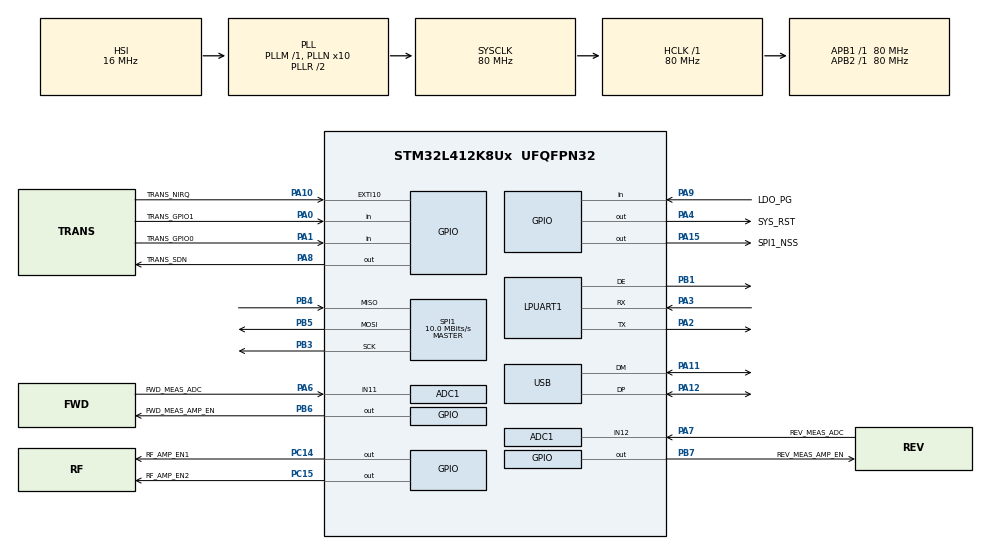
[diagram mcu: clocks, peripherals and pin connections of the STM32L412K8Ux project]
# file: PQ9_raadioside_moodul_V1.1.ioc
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ADC1.Channel-0\#ChannelRegularConversion=ADC_CHANNEL_11
ADC1.Channel-1\#ChannelRegularConversion=ADC_CHANNEL_12
ADC1.ContinuousConvMode=ENABLE
ADC1.DiscontinuousConvMode=DISABLE
ADC1.NbrOfConversion=2
ADC1.NbrOfConversionFlag=1
ADC1.OffsetNumber-0\#ChannelRegularConversion=ADC_OFFSET_NONE
ADC1.OffsetNumber-1\#ChannelRegularConversion=ADC_OFFSET_NONE
ADC1.Rank-0\#ChannelRegularConversion=1
ADC1.Rank-1\#ChannelRegularConversion=2
ADC1.SamplingTime-0\#ChannelRegularConversion=ADC_SAMPLETIME_12CYCLES_5
ADC1.SamplingTime-1\#ChannelRegularConversion=ADC_SAMPLETIME_12CYCLES_5
ADC1.master=1
Dma.ADC1.0.Direction=DMA_PERIPH_TO_MEMORY
Dma.ADC1.0.Instance=DMA1_Channel1
Dma.ADC1.0.MemDataAlignment=DMA_MDATAALIGN_WORD
Dma.ADC1.0.MemInc=DMA_MINC_ENABLE
Dma.ADC1.0.Mode=DMA_CIRCULAR
Dma.ADC1.0.PeriphDataAlignment=DMA_PDATAALIGN_WORD
Dma.ADC1.0.PeriphInc=DMA_PINC_DISABLE
Dma.ADC1.0.Priority=DMA_PRIORITY_LOW
Dma.Request0=ADC1
Mcu.Family=STM32L4
Mcu.Name=STM32L412K8Ux
Mcu.Package=UFQFPN32
NVIC.DMA1_Channel1_IRQn=true\:0\:0\:false\:false\:true\:false\:true\:true
NVIC.PriorityGroup=NVIC_PRIORITYGROUP_4
NVIC.USB_IRQn=true\:0\:0\:false\:false\:true\:false\:true\:true
PA0-CK_IN.GPIO_Label=TRANS_GPIO1
PA0-CK_IN.Signal=GPIO_Input
PA1.GPIO_Label=TRANS_GPIO0
PA1.Signal=GPIO_Input
PA10.GPIO_Label=TRANS_NIRQ
PA10.Signal=GPXTI10
PA11.Mode=Device
PA11.Signal=USB_DM
PA12.Mode=Device
PA12.Signal=USB_DP
PA13\ (JTMS/SWDIO).Mode=Serial_Wire
PA13\ (JTMS/SWDIO).Signal=SYS_JTMS-SWDIO
PA14\ (JTCK/SWCLK).Mode=Serial_Wire
PA14\ (JTCK/SWCLK).Signal=SYS_JTCK-SWCLK
PA15\ (JTDI).GPIO_Label=SPI1_NSS
PA15\ (JTDI).GPIO_Speed=GPIO_SPEED_FREQ_VERY_HIGH
PA15\ (JTDI).Signal=GPIO_Output
PA2.Mode=Asynchronous
PA2.Signal=LPUART1_TX
PA3.Mode=Asynchronous
PA3.Signal=LPUART1_RX
PA4.GPIO_Label=SYS_RST
PA4.Signal=GPIO_Output
PA6.GPIO_Label=FWD_MEAS_ADC
PA6.Signal=ADCx_IN11
PA7.GPIO_Label=REV_MEAS_ADC
PA7.Signal=ADCx_IN12
PA8.GPIO_Label=TRANS_SDN
PA8.Signal=GPIO_Output
PA9.GPIO_Label=LDO_PG
PA9.Signal=GPIO_Input
PB1.Mode=Hardware Flow Control (RS485)
PB1.Signal=LPUART1_DE
PB3\ (JTDO/TRACESWO).Mode=Full_Duplex_Master
PB3\ (JTDO/TRACESWO).Signal=SPI1_SCK
PB4\ (NJTRST).Mode=Full_Duplex_Master
PB4\ (NJTRST).Signal=SPI1_MISO
PB5.Mode=Full_Duplex_Master
PB5.Signal=SPI1_MOSI
PB6.GPIO_Label=FWD_MEAS_AMP_EN
PB6.Signal=GPIO_Output
PB7.GPIO_Label=REV_MEAS_AMP_EN
PB7.Signal=GPIO_Output
PC14-OSC32_IN\ (PC14).GPIO_Label=RF_AMP_EN1
PC14-OSC32_IN\ (PC14).Signal=GPIO_Output
PC15-OSC32_OUT\ (PC15).GPIO_Label=RF_AMP_EN2
PC15-OSC32_OUT\ (PC15).Signal=GPIO_Output
ProjectManager.HeapSize=0x200
ProjectManager.StackSize=0x400
ProjectManager.TargetToolchain=STM32CubeIDE
RCC.ADCFreq_Value=80000000
RCC.AHBFreq_Value=80000000
RCC.APB1Freq_Value=80000000
RCC.APB1TimFreq_Value=80000000
RCC.APB2Freq_Value=80000000
RCC.APB2TimFreq_Value=80000000
RCC.CortexFreq_Value=80000000
RCC.HCLKFreq_Value=80000000
RCC.HSE_VALUE=8000000
RCC.HSI48_VALUE=48000000
RCC.HSI_VALUE=16000000
RCC.LSE_VALUE=32768
RCC.MSIClockRange=RCC_MSIRANGE_11
RCC.MSI_VALUE=48000000
RCC.PLLN=10
RCC.PLLSourceVirtual=RCC_PLLSOURCE_HSI
RCC.SYSCLKFreq_VALUE=80000000
RCC.SYSCLKSource=RCC_SYSCLKSOURCE_PLLCLK
RCC.USBFreq_Value=48000000
RCC.VCOOutputFreq_Value=160000000
SH.ADCx_IN11.0=ADC1_IN11,IN11-Single-Ended
SH.ADCx_IN12.0=ADC1_IN12,IN12-Single-Ended
SPI1.BaudRatePrescaler=SPI_BAUDRATEPRESCALER_8
SPI1.CLKPolarity=SPI_POLARITY_LOW
SPI1.CalculateBaudRate=10.0 MBits/s
SPI1.DataSize=SPI_DATASIZE_8BIT
SPI1.Direction=SPI_DIRECTION_2LINES
SPI1.FirstBit=SPI_FIRSTBIT_MSB
SPI1.Mode=SPI_MODE_MASTER
SPI1.VirtualType=VM_MASTER
USB_DEVICE.CLASS_NAME_FS=CDC
USB_DEVICE.VirtualMode=Cdc
USB_DEVICE.VirtualModeFS=Cdc_FS
VP_USB_DEVICE_VS_USB_DEVICE_CDC_FS.Mode=CDC_FS
board=custom

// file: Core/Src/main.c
/* USER CODE BEGIN Header */
/**
  ******************************************************************************
  * @file           : main.c
  * @brief          : Main program body
  ******************************************************************************
  * @attention
  *
  *	AUTO-GENERATED CODE:
  * Copyright (c) 2024 STMicroelectronics.
  * All rights reserved.
  *
  * This software is licensed under terms that can be found in the LICENSE file
  * in the root directory of this software component.
  * If no LICENSE file comes with this software, it is provided AS-IS.
  *
  * --------------------
  *
  * USER-GENERATED CODE:
  * Copyright (c) 2024 Ergo Haavasalu, TalTech
  *
  ******************************************************************************
  */
/* USER CODE END Header */
#include "main.h"
#include "usb_device.h"

/* USER CODE BEGIN Includes */
#include "usbd_cdc_if.h"
#include "radio_config_Si4468.h"

/* USER CODE END Includes */

/* USER CODE BEGIN PD */

// Si4468 Transceiver commands
#define Si4468_PART_INFO 0x01
#define Si4468_POWER_UP 0x02 // Add TCXO option (using external drive)!
#define Si4468_FUNC_INFO 0x10
#define Si4468_SET_PROPERTY 0x11
#define Si4468_GET_PROPERTY 0x12
#define Si4468_GPIO_PIN_CFG 0x13
#define Si4468_GET_ADC_READING 0x14
#define Si4468_FIFO_INFO 0x15
#define Si4468_PACKET_INFO 0x16
#define Si4468_IRCAL 0x17
#define Si4468_IRCAL_MANUAL 0x1A
#define Si4468_GET_INT_STATUS 0x20
#define Si4468_GET_PH_STATUS 0x21
#define Si4468_GET_MODEM_STATUS 0x22
#define Si4468_GET_CHIP_STATUS 0x23
#define Si4468_START_TX 0x31
#define Si4468_START_RX 0x32
#define Si4468_REQUEST_DEVICE_STATE 0x33
#define Si4468_CHANGE_STATE 0x34
#define Si4468_RX_HOP 0x36
#define Si4468_TX_HOP 0x37
#define Si4468_OFFLINE_RECAL 0x38
#define Si4468_READ_CMD_BUFF 0x44
#define Si4468_FRR_A_READ 0x50
#define Si4468_FRR_B_READ 0x51
#define Si4468_FRR_C_READ 0x53
#define Si4468_FRR_D_READ 0x57
#define Si4468_WRITE_TX_FIFO 0x66
#define Si4468_READ_RX_FIFO 0x77

#define Si4468_TX_STATE 0x07
#define Si4468_RX_STATE 0x08

#define ANSI_COLORS_OFF 0x00
#define ANSI_COLORS_ON 0x01

enum {
	MSG_WELCOME,
	MSG_CMD_LIST,
	MSG_ENTER_CMD,
	MSG_CMD_NOT_FOUND,
	MSG_COLORS_ACTIVE,
	MSG_COLORS_INACTIVE,
	MSG_RF_AMP_WARNING,
	MSG_RF_AMP_ON,
	MSG_RF_AMP_OFF,
	MSG_OPAMPS_ON,
	MSG_OPAMPS_OFF,
	MSG_MEAS_MODE_ON,
	MSG_MEAS_MODE_OFF,
	MSG_TX_MODE_ON,
	MSG_TX_MODE_OFF,
	MSG_RX_MODE_ON,
	MSG_RX_MODE_OFF,
	MSG_DEVICE_INFO
};

enum {
	STATE_IDLE,
	STATE_RX,
	STATE_TX,
};

/* USER CODE END PD */

ADC_HandleTypeDef hadc1;
DMA_HandleTypeDef hdma_adc1;

UART_HandleTypeDef hlpuart1;

SPI_HandleTypeDef hspi1;

/* USER CODE BEGIN PV */
uint32_t ADC_Raw_Results[2];

uint8_t USB_RxBuf[1024] = {0};
uint8_t USB_RxBufIndex = 0; // Index of the last character in the USB Rx buffer
uint8_t USB_RxBufFull = 0;
uint8_t USB_RxBufOverflow = 0;

uint8_t ANSI_ColorsOn = 0;
uint8_t RF_AmpSupplyOn = 0;
uint8_t RF_AmpSupplyOnWarning = 1;

uint16_t USB_RxBufLen = 1024;
uint8_t USB_RxDataReadyFlag;

extern uint8_t USB_COM_Port_open;

uint8_t Reset = 0;
uint8_t ExitSignalReceived = 0;
uint8_t DenyReturnKey = 0;

uint8_t DeviceState = STATE_IDLE;

/* USER CODE END PV */

void SystemClock_Config(void);
static void MX_GPIO_Init(void);
static void MX_DMA_Init(void);
static void MX_ADC1_Init(void);
static void MX_LPUART1_UART_Init(void);
static void MX_SPI1_Init(void);
/* USER CODE BEGIN PFP */

void USB_Rx_Parser(void);
uint8_t Si4468_CmdTransmitReceive(uint8_t * TxBuf, uint8_t * RxBuf, uint8_t Length);
uint8_t Si4468_CmdTransmit(uint8_t * RxBuf, uint8_t Length);
uint8_t Si4468_CmdReceive(uint8_t * RxBuf, uint8_t Length);
uint8_t Si4468_CmdReadCmdReplyWhenReady(uint8_t * RxBuf, uint8_t Length);
void Si4468_WaitForCTS(void);
void USB_CDC_TransmitPredefinedMessage(uint8_t ANSI_Color_State, uint8_t Select_Message);
uint8_t ParseUSBInputAsInteger(uint32_t * result);
double ConvertTxADCtoPower(uint32_t ADCrawResult);

/* USER CODE END PFP */

/* USER CODE BEGIN 0 */

/* A callback function for USB received data handling.
 * NB! Must be kept short because it is triggered by an interrupt.
 */
void CDC_FS_RxDataReady_Callback(uint8_t * RxBuf, uint8_t Length){
	if (Length == 1){
		switch (*RxBuf){
		case '\r': // Marks the end of buffer
			if (!DenyReturnKey){
				CDC_Transmit_FS((uint8_t *) "\r\n", 2);
				USB_RxDataReadyFlag = 1; // The contents of the buffer are ready to be parsed
			}
			break;
		case '\b': // BACKSPACE key (backspace for Minicom)
			if (USB_RxBufIndex > 0){
				USB_RxBufIndex--; // Take a step back in the buffer
			}
			break;
		case 0x0C:
			CDC_Transmit_FS((uint8_t *) "\e[2J\e[0;0HEnter a command: ", 27);
			break;
		case 'x':
			ExitSignalReceived = 1;
			break;
		case 0x7F: // DEL key (backspace for Picocom and Tio)
			if (USB_RxBufIndex > 0){
				USB_RxBufIndex--; // Take a step back in the buffer
			}
			break;
		default:
			if (USB_RxBufIndex < (USB_RxBufLen - 1)){
				USB_RxBuf[USB_RxBufIndex] = *RxBuf;
				USB_RxBufIndex++;
			}
			else if (USB_RxBufIndex == USB_RxBufLen - 1){
				USB_RxBuf[USB_RxBufIndex] = *RxBuf;
				USB_RxBufFull = 1;
			}
			else{
				USB_RxBufOverflow = 1;
			}
		}
	}
	else {
		// Copy the contents of the main USB buffer to a secondary buffer for parsing
		strncpy((char *) USB_RxBuf, (char *) RxBuf, Length);
		USB_RxBufLen = Length;
		USB_RxDataReadyFlag = 1;
	}
}

void USB_Rx_Parser(void){
	char USB_MSG_TxBuf[1024];
	uint8_t Si4468_CmdTxBuf[128], Si4468_CmdRxBuf[128];
	if (USB_RxDataReadyFlag){
		if (USB_RxBufIndex == 0){
			// NO-OP
		}
		else if (Reset){
			if (USB_RxBufIndex == 1){
				switch (*USB_RxBuf){
					case 'y':
						if (ANSI_ColorsOn){
							HAL_Delay(1);
							CDC_Transmit_FS((uint8_t *) "\e[1m\e[31mRESTARTING!\r\n\e[37m\e[0m", 31);
						}
						else{
							HAL_Delay(1);
							CDC_Transmit_FS((uint8_t *) "RESTARTING!\r\n", 13);
						}
						HAL_Delay(1);
						NVIC_SystemReset(); // Reset the device
					case 'n':
						Reset = 0;
						USB_CDC_TransmitPredefinedMessage(ANSI_COLORS_OFF, MSG_ENTER_CMD);
						break;
					default:
						HAL_Delay(1);
						CDC_Transmit_FS((uint8_t *) "Reset the device? (y/n): ", 25);
				}
			}
			else{
				HAL_Delay(1);
				CDC_Transmit_FS((uint8_t *) "Reset the device? (y/n): ", 25);
			}
		}
		else if (USB_RxBufIndex == 1){
			switch (*USB_RxBuf){
			case 'l':
				if (ANSI_ColorsOn){
					USB_CDC_TransmitPredefinedMessage(ANSI_COLORS_ON, MSG_CMD_LIST);
				}
				else{
					USB_CDC_TransmitPredefinedMessage(ANSI_COLORS_OFF, MSG_CMD_LIST);
				}
				USB_CDC_TransmitPredefinedMessage(ANSI_COLORS_OFF, MSG_ENTER_CMD);
				break;
			case 'm':
				uint16_t MeasuredTxPower = 0;
				double MeasuredTxPowerDouble = 0;
				HAL_GPIO_WritePin(GPIOB, GPIO_PIN_6, GPIO_PIN_SET); // Turn the forward meas. amplifier ON
				HAL_GPIO_WritePin(GPIOB, GPIO_PIN_7, GPIO_PIN_SET); // Turn the reverse meas. amplifier ON
				HAL_Delay(100); // Wait for the amplifiers to turn on
				USB_CDC_TransmitPredefinedMessage(ANSI_ColorsOn, MSG_OPAMPS_ON);
				USB_CDC_TransmitPredefinedMessage(ANSI_ColorsOn, MSG_MEAS_MODE_ON);
				HAL_ADC_Start_DMA(&hadc1, ADC_Raw_Results, 2);
				HAL_Delay(100);
				HAL_ADC_Stop_DMA(&hadc1);
				//CDC_Transmit_FS((uint8_t *) "\e[A\e[A", 6);
				if (ANSI_ColorsOn){
					sprintf(USB_MSG_TxBuf, "\e[31m\tTx ADC raw: \e[37m%u    \r\n\e[32m\tRx ADC raw: \e[37m%u    \r\n", (uint16_t) ADC_Raw_Results[0], (uint16_t) ADC_Raw_Results[1]);
					CDC_Transmit_FS((uint8_t *)USB_MSG_TxBuf, strlen(USB_MSG_TxBuf));
				}
				else{
					sprintf(USB_MSG_TxBuf, "\tTx ADC raw: %u    \r\n\tRx ADC raw: %u    \r\n", (uint16_t) ADC_Raw_Results[0], (uint16_t) ADC_Raw_Results[1]);
					CDC_Transmit_FS((uint8_t *)USB_MSG_TxBuf, strlen(USB_MSG_TxBuf));
				}
				MeasuredTxPowerDouble = ConvertTxADCtoPower(ADC_Raw_Results[0]);
				MeasuredTxPower = (uint16_t) (0.5 + MeasuredTxPowerDouble); // convert to integer
				sprintf(USB_MSG_TxBuf, "\tEstimated Tx power [mW]: %d    \r\n", MeasuredTxPower);
				HAL_Delay(1);
				CDC_Transmit_FS((uint8_t *)USB_MSG_TxBuf, strlen(USB_MSG_TxBuf));
				ExitSignalReceived = 0;
				DenyReturnKey = 0;
				HAL_GPIO_WritePin(GPIOB, GPIO_PIN_6, GPIO_PIN_RESET); // Turn the forward meas. amplifier OFF
				HAL_GPIO_WritePin(GPIOB, GPIO_PIN_7, GPIO_PIN_RESET); // Turn the reverse meas. amplifier OFF
				USB_CDC_TransmitPredefinedMessage(ANSI_ColorsOn, MSG_OPAMPS_OFF);
				USB_CDC_TransmitPredefinedMessage(ANSI_ColorsOn, MSG_ENTER_CMD);
				break;
			case 'c':
				ANSI_ColorsOn ^= 0x01; // Toggle the terminal color mode
				if (ANSI_ColorsOn){
					USB_CDC_TransmitPredefinedMessage(ANSI_COLORS_ON, MSG_COLORS_ACTIVE);
				}
				else{
					USB_CDC_TransmitPredefinedMessage(ANSI_COLORS_ON, MSG_COLORS_INACTIVE);
				}
				USB_CDC_TransmitPredefinedMessage(ANSI_COLORS_ON, MSG_ENTER_CMD);
				break;
			case 'R':
				HAL_Delay(1);
				CDC_Transmit_FS((uint8_t *) "Reset the device? (y/n): ", 25);
				Reset = 1;
				break;
			case 'r':
				DeviceState = STATE_RX;
				Si4468_CmdTxBuf[0] = Si4468_CHANGE_STATE;
				Si4468_CmdTxBuf[1] = Si4468_RX_STATE; // RX
				Si4468_CmdTransmitReceive(Si4468_CmdTxBuf, Si4468_CmdRxBuf, 2);
				Si4468_WaitForCTS();
				HAL_Delay(100);
				HAL_GPIO_WritePin(GPIOC, GPIO_PIN_14, GPIO_PIN_RESET); // Turn the RF amplifier stage 1 OFF
				HAL_GPIO_WritePin(GPIOC, GPIO_PIN_15, GPIO_PIN_RESET); // Turn the RF amplifier stage 2 OFF
				HAL_Delay(100);
				USB_CDC_TransmitPredefinedMessage(ANSI_ColorsOn, MSG_RX_MODE_ON);
				break;
			case 't':
				DeviceState = STATE_TX;
				HAL_GPIO_WritePin(GPIOC, GPIO_PIN_14, GPIO_PIN_SET); // Turn the RF amplifier stage 1 ON
				HAL_GPIO_WritePin(GPIOC, GPIO_PIN_15, GPIO_PIN_SET); // Turn the RF amplifier stage 2 ON
				HAL_Delay(100);
				Si4468_CmdTxBuf[0] = Si4468_CHANGE_STATE;
				Si4468_CmdTxBuf[1] = Si4468_TX_STATE; // TX
				Si4468_CmdTransmitReceive(Si4468_CmdTxBuf, Si4468_CmdRxBuf, 2);
				Si4468_WaitForCTS();
				USB_CDC_TransmitPredefinedMessage(ANSI_ColorsOn, MSG_TX_MODE_ON);
				break;
			case 'i':
				USB_CDC_TransmitPredefinedMessage(ANSI_ColorsOn, MSG_DEVICE_INFO);
				break;
			case 'p':
				if (RF_AmpSupplyOnWarning){
					USB_CDC_TransmitPredefinedMessage(ANSI_ColorsOn, MSG_RF_AMP_WARNING);
					USB_CDC_TransmitPredefinedMessage(ANSI_ColorsOn, MSG_ENTER_CMD);
					RF_AmpSupplyOnWarning = 0;
				}
				else{
					RF_AmpSupplyOn ^= 0x01; // Toggle the RF amp flag
					if (RF_AmpSupplyOn){
						USB_CDC_TransmitPredefinedMessage(ANSI_ColorsOn, MSG_RF_AMP_ON);
						HAL_Delay(1);
						HAL_GPIO_WritePin(GPIOC, GPIO_PIN_14, GPIO_PIN_SET); // Turn the RF amplifier stage 1 ON
						HAL_GPIO_WritePin(GPIOC, GPIO_PIN_15, GPIO_PIN_SET); // Turn the RF amplifier stage 2 ON
					}
					else{
						USB_CDC_TransmitPredefinedMessage(ANSI_ColorsOn, MSG_RF_AMP_OFF);
						HAL_Delay(1);
						HAL_GPIO_WritePin(GPIOC, GPIO_PIN_14, GPIO_PIN_RESET); // Turn the RF amplifier stage 1 OFF
						HAL_GPIO_WritePin(GPIOC, GPIO_PIN_15, GPIO_PIN_RESET); // Turn the RF amplifier stage 2 OFF
						RF_AmpSupplyOnWarning = 1; // Reset the warning flag for next turn-on event
					}
				}
				break;
			default:
				uint32_t parsed_number = 0;
				uint8_t error = ParseUSBInputAsInteger(&parsed_number);
				if (error){
					USB_CDC_TransmitPredefinedMessage(ANSI_ColorsOn, MSG_CMD_NOT_FOUND);
				}
				else{
					sprintf(USB_MSG_TxBuf, "Input was a number: %u    \r\n", (uint16_t)parsed_number);
					CDC_Transmit_FS((uint8_t *) USB_MSG_TxBuf, strlen(USB_MSG_TxBuf));
					if (DeviceState == STATE_TX){
						Si4468_CmdTxBuf[0] = Si4468_SET_PROPERTY;
						Si4468_CmdTxBuf[1] = 0x22; // Group
						Si4468_CmdTxBuf[2] = 0x04; // Number of properties
						Si4468_CmdTxBuf[3] = 0x00; // Index of the first property to be set
						Si4468_CmdTxBuf[4] = 0x08; //
						Si4468_CmdTxBuf[5] = (uint8_t) parsed_number; // TRANSCEIVER TX POWER LEVEL
						Si4468_CmdTxBuf[6] = 0x00; //
						Si4468_CmdTxBuf[7] = 0x1D; //
						Si4468_CmdTransmit(Si4468_CmdTxBuf, 8);
						Si4468_WaitForCTS();
						CDC_Transmit_FS((uint8_t *) "TX power adjusted!\r\n", 20);
					}
				}
			}
		}
		else if((strncmp((char *)USB_RxBuf, "test", 4) == 0) && (USB_RxBufIndex == 4)){
			HAL_Delay(1);
			CDC_Transmit_FS((uint8_t *) "\tEaster egg~! uwu\r\n", 19);
			HAL_Delay(1);
			CDC_Transmit_FS((uint8_t *) "Enter a command: ", 17);
		}
		else{
			uint32_t parsed_number = 0;
			uint8_t error = ParseUSBInputAsInteger(&parsed_number);
			if (error){
				USB_CDC_TransmitPredefinedMessage(ANSI_ColorsOn, MSG_CMD_NOT_FOUND);
			}
			else{
				sprintf(USB_MSG_TxBuf, "Input was a number: %u    \r\n", (uint16_t)parsed_number);
				CDC_Transmit_FS((uint8_t *) USB_MSG_TxBuf, strlen(USB_MSG_TxBuf));
				if (DeviceState == STATE_TX){
					Si4468_CmdTxBuf[0] = Si4468_SET_PROPERTY;
					Si4468_CmdTxBuf[1] = 0x22; // Group
					Si4468_CmdTxBuf[2] = 0x04; // Number of properties
					Si4468_CmdTxBuf[3] = 0x00; // Index of the first property to be set
					Si4468_CmdTxBuf[4] = 0x08; //
					Si4468_CmdTxBuf[5] = (uint8_t) parsed_number & 0x7F;// TRANSCEIVER TX POWER LEVEL
					Si4468_CmdTxBuf[6] = 0x00; //
					Si4468_CmdTxBuf[7] = 0x1D; //
					Si4468_CmdTransmit(Si4468_CmdTxBuf, 8);
					Si4468_WaitForCTS();
					sprintf(USB_MSG_TxBuf, "TX power adjusted to: %u    \r\n", (uint8_t)parsed_number & 0x7F);
					CDC_Transmit_FS(USB_MSG_TxBuf, strlen(USB_MSG_TxBuf));
				}
			}
		}
		USB_RxDataReadyFlag = 0; // Clear the flag
		USB_RxBufIndex = 0; // Reset the index
	}
}

double ConvertTxADCtoPower(uint32_t ADCrawResult){
	return ((double)0.00002 * ADCrawResult * ADCrawResult) + ((double)0.0301 * ADCrawResult) + ((double)1.6865);
}

uint8_t ParseUSBInputAsInteger(uint32_t * result){
	uint8_t error = 0;
	uint32_t parsed_number = 0;
	uint32_t order = 1;
	// Try to parse the input as a decimal integer:
	for (int i = 0; i < USB_RxBufIndex; i++){
		if (USB_RxBuf[i] >= 48 && USB_RxBuf[i] <= 57){
			for (int j = USB_RxBufIndex - (i + 1); j > 0; j--){
				order *= 10;
			}
			parsed_number += (USB_RxBuf[i] - 48)*order;
			order = 1;
		}
		else{
			error = 1;
		}
	}
	*result = parsed_number;
	return error;
}

void USB_CDC_TransmitPredefinedMessage(uint8_t ANSI_Color_State, uint8_t Select_Message){
	HAL_Delay(1);
	switch(ANSI_Color_State){
	case ANSI_COLORS_OFF:
		switch(Select_Message){
		case MSG_WELCOME:
			CDC_Transmit_FS((uint8_t *) "\e[2J\e[0;0HPQ9 COM module V2.0 by 213415IACB\r\n"
					"Copyright (c): Ergo Haavasalu 2024, TalTech\r\n"
					"Enter a command (\"l\" for a list of available commands): ", 146);
			break;
		case MSG_CMD_LIST:
			CDC_Transmit_FS((uint8_t *) "\r\nLIST OF COMMANDS:\r\n"
					"\tc - Enable ANSI terminal color codes\r\n"
					"\ti - Return the system info and settings\r\n"
					"\tp - Toggle the RF power amplifier 5 V supply\r\n"
					"\tr - Put the device into receive mode\r\n"
					"\tR - Reset the device\r\n"
					"\tt - Put the device into transmit mode\r\n"
					"\tm - Display the measured Tx/Rx power levels\r\n\n", 298);
			break;
		case MSG_DEVICE_INFO:
			CDC_Transmit_FS((uint8_t *) "Device info:\r\n", 14);
			break;
		case MSG_ENTER_CMD:
			CDC_Transmit_FS((uint8_t *) "Enter a command: ", 17);
			break;
		case MSG_RF_AMP_WARNING:
			CDC_Transmit_FS((uint8_t *) "WARNING! When the amplifier is turned on, the current\r\n"
					"consumption increases way above 500 mA. Make sure your USB port\r\n"
					"can handle this load. To proceed, repeat the command.\r\n", 175);
			break;
		case MSG_TX_MODE_ON:
			CDC_Transmit_FS((uint8_t *) "Transmit mode active!\r\n", 23);
			break;
		case MSG_TX_MODE_OFF:

			break;
		case MSG_RX_MODE_ON:
			CDC_Transmit_FS((uint8_t *) "Receive mode active!\r\n", 22);
			break;
		case MSG_RX_MODE_OFF:

			break;
		case MSG_CMD_NOT_FOUND:
			CDC_Transmit_FS((uint8_t *) "COMMAND NOT FOUND!\r\n"
					"Enter a command (\"l\" for a list of available commands): ", 76);
			break;
		case MSG_RF_AMP_ON:
			CDC_Transmit_FS((uint8_t *) "# RF AMPLIFIER SUPPLY ON!\r\n"
					"Enter a command: ", 44);
			break;
		case MSG_RF_AMP_OFF:
			CDC_Transmit_FS((uint8_t *) "# RF AMPLIFIER SUPPLY OFF!\r\n"
					"Enter a command: ", 45);
			break;
		}
		break;
	case ANSI_COLORS_ON:
		switch(Select_Message){
		case MSG_CMD_LIST:
			CDC_Transmit_FS((uint8_t *) "\e[36m\r\nLIST OF COMMANDS:\r\n\e[37m"
					"\tc - Enable ANSI terminal color codes\r\n"
					"\ti - Return the system info and settings\r\n"
					"\tp - Toggle the RF power amplifier 5 V supply\r\n"
					"\tr - Put the device into receive mode\r\n"
					"\tR - Reset the device\r\n"
					"\tt - Put the device into transmit mode\r\n"
					"\tm - Display the measured Tx/Rx power levels\r\n\n", 308);
			break;
		case MSG_DEVICE_INFO:
			CDC_Transmit_FS((uint8_t *) "\e[32m\r\nDevice info:\e[37m\r\n", 26);
			break;
		case MSG_ENTER_CMD:
			CDC_Transmit_FS((uint8_t *) "Enter a command: ", 17);
			break;
		case MSG_COLORS_ACTIVE:
			CDC_Transmit_FS((uint8_t *) "\e[32mANSI COLORS ACTIVATED!\e[37m\r\n", 36);
			break;
		case MSG_COLORS_INACTIVE:
			CDC_Transmit_FS((uint8_t *) "\e[31mANSI COLORS DEACTIVATED!\e[37m\r\n", 36);
			break;
		case MSG_RF_AMP_WARNING:
			CDC_Transmit_FS((uint8_t *) "\e[31m\e[1mWARNING!\e[0m\e[31m When the amplifier is turned on, the current\r\n"
					"consumption increases way above 500 mA. Make sure your USB port\r\n"
					"can handle this load. To proceed, repeat the command.\e[37m\r\n", 198);
			break;
		case MSG_TX_MODE_ON:
			CDC_Transmit_FS((uint8_t *) "\e[32mTransmit mode active!\e[37m\r\n", 33);
			break;
		case MSG_TX_MODE_OFF:

			break;
		case MSG_RX_MODE_ON:
			CDC_Transmit_FS((uint8_t *) "\e[32mReceive mode active!\e[37m\r\n", 32);
			break;
		case MSG_RX_MODE_OFF:

			break;
		case MSG_CMD_NOT_FOUND:
			CDC_Transmit_FS((uint8_t *) "\e[1m\e[31mCOMMAND NOT FOUND!\e[37m\e[0m\r\n"
					"Enter a command (\"l\" for a list of available commands): ", 94);
			break;
		case MSG_RF_AMP_ON:
			CDC_Transmit_FS((uint8_t *) "\e[1m\e[32m# RF AMPLIFIER SUPPLY ON!\e[37m\r\n\e[0m"
					"Enter a command: ", 62);
			break;
		case MSG_RF_AMP_OFF:
			CDC_Transmit_FS((uint8_t *) "\e[1m\e[31m# RF AMPLIFIER SUPPLY OFF!\e[37m\r\n\e[0m"
								"Enter a command: ", 63);
			break;
		}
		break;
	}
}

uint8_t Si4468_CmdTransmitReceive(uint8_t * TxBuf, uint8_t * RxBuf, uint8_t Length){
	HAL_GPIO_WritePin(GPIOA, GPIO_PIN_15, GPIO_PIN_RESET); // Pull SPI NSS low
	uint8_t result = HAL_SPI_TransmitReceive(&hspi1, TxBuf, RxBuf, Length, HAL_MAX_DELAY);
	HAL_GPIO_WritePin(GPIOA, GPIO_PIN_15, GPIO_PIN_SET); // Push SPI NSS high
	if (result != HAL_OK) return 1;
	return 0;
}

uint8_t Si4468_CmdTransmit(uint8_t * TxBuf, uint8_t Length){
	HAL_GPIO_WritePin(GPIOA, GPIO_PIN_15, GPIO_PIN_RESET); // Pull SPI NSS low
	uint8_t result = HAL_SPI_Transmit(&hspi1, TxBuf, Length, HAL_MAX_DELAY);
	HAL_GPIO_WritePin(GPIOA, GPIO_PIN_15, GPIO_PIN_SET); // Push SPI NSS high
	if (result != HAL_OK) return 1;
	return 0;
}

uint8_t Si4468_CmdReceive(uint8_t * RxBuf, uint8_t Length){
	HAL_GPIO_WritePin(GPIOA, GPIO_PIN_15, GPIO_PIN_RESET); // Pull SPI NSS low
	uint8_t result = HAL_SPI_Receive(&hspi1, RxBuf, Length, HAL_MAX_DELAY);
	HAL_GPIO_WritePin(GPIOA, GPIO_PIN_15, GPIO_PIN_SET); // Push SPI NSS high
	if (result != HAL_OK) return 1;
	return 0;
}

uint8_t Si4468_CmdReadCmdReplyWhenReady(uint8_t * RxBuf, uint8_t Length){
	uint8_t CmdTxBuf[2] = {Si4468_READ_CMD_BUFF, 0};
	uint8_t CmdRxBuf[2] = {0, 0};
	uint8_t result;
	while(1){
		HAL_GPIO_WritePin(GPIOA, GPIO_PIN_15, GPIO_PIN_RESET); // Pull SPI NSS low
		result = HAL_SPI_TransmitReceive(&hspi1, CmdTxBuf, CmdRxBuf, 2, HAL_MAX_DELAY);
		if (CmdRxBuf[1] == 0xFF) break;
		HAL_GPIO_WritePin(GPIOA, GPIO_PIN_15, GPIO_PIN_SET); // Push SPI NSS high
		HAL_Delay(1);
	}
	result += HAL_SPI_Receive(&hspi1, RxBuf, Length, HAL_MAX_DELAY);
	if (result != HAL_OK) return 1;
	return 0;
}

void Si4468_WaitForCTS(void){
	uint8_t Si4468_CmdTxBuf[2], Si4468_CmdRxBuf[2];
	Si4468_CmdTxBuf[0] = Si4468_READ_CMD_BUFF;
	Si4468_CmdRxBuf[1] = 0;
	while(Si4468_CmdRxBuf[1] != 0xFF){
		Si4468_CmdTransmitReceive(Si4468_CmdTxBuf, Si4468_CmdRxBuf, 2);
	}
}
/* USER CODE END 0 */

int main(void)
{
  /* USER CODE BEGIN 1 */
	uint8_t Si4468_ConfigArray[] = RADIO_CONFIGURATION_DATA_ARRAY;
	uint8_t Si4468_TxBuf[64] = {0}; // For writing to Si4468 FIFO registers
	uint8_t Si4468_RxBuf[64] = {0}; // For reading from Si4468 FIFO registers
	uint8_t Si4468_CmdTxBuf[128], Si4468_CmdRxBuf[128];
  /* USER CODE END 1 */

  /* MCU Configuration--------------------------------------------------------*/

  /* Reset of all peripherals, Initializes the Flash interface and the Systick. */
  HAL_Init();

  /* Configure the system clock */
  SystemClock_Config();

  /* Initialize all configured peripherals */
  MX_GPIO_Init();
  MX_DMA_Init();
  MX_ADC1_Init();
  MX_LPUART1_UART_Init();
  MX_SPI1_Init();
  MX_USB_DEVICE_Init();
  /* USER CODE BEGIN 2 */
  HAL_GPIO_WritePin(GPIOA, GPIO_PIN_15, GPIO_PIN_SET); // Set SPI NSS high
  HAL_GPIO_WritePin(GPIOC, GPIO_PIN_15, GPIO_PIN_RESET); // Turn the RF amplifier stage 2 OFF
  HAL_GPIO_WritePin(GPIOC, GPIO_PIN_14, GPIO_PIN_RESET); // Turn the RF amplifier stage 1 OFF

  // ### Si4468 TRANSCEIVER STARTUP
  // Perform a POR (Power on reset)
  HAL_GPIO_WritePin(GPIOA, GPIO_PIN_8, GPIO_PIN_SET);
  HAL_Delay(1); // A minimum of 10 us is required
  HAL_GPIO_WritePin(GPIOA, GPIO_PIN_8, GPIO_PIN_RESET);
  HAL_Delay(10); // POR should not take more than 6 ms, but let's be safe...

  /* Configure the Si4468 transceiver based on the settings in the header file
   * NB! To generate a custom config. header file, use the Silicon Lab's "Wireless Development Suite"
   *
   */
  uint16_t i = 0;
  uint16_t Si4468_ConfigArrayLength = sizeof(Si4468_ConfigArray)/sizeof(Si4468_ConfigArray[0]);
  while (Si4468_ConfigArray[i] != 0x00){ // The last byte in the autogen. array should indicate the end
	  Si4468_CmdTransmit(&Si4468_ConfigArray[i + 1], Si4468_ConfigArray[i]);
	  Si4468_WaitForCTS();
	  i += (Si4468_ConfigArray[i] + 1);
  }

  /* For testing purposes, put the Si4468 into Continuous Wave (CW) transmission mode
   *
   */
  Si4468_CmdTxBuf[0] = Si4468_SET_PROPERTY;
  Si4468_CmdTxBuf[1] = 0x20; // Group
  Si4468_CmdTxBuf[2] = 0x01; // Number of properties
  Si4468_CmdTxBuf[3] = 0x00; // Index of the first property to be set
  Si4468_CmdTxBuf[4] = 0x00; // Data
  Si4468_CmdTransmit(Si4468_CmdTxBuf, 5);
  Si4468_WaitForCTS();

  // Wait for the COM port to open:
  while(!USB_COM_Port_open){
	  //
  };
  HAL_Delay(1000);
  // Send the welcome message:
  USB_CDC_TransmitPredefinedMessage(ANSI_COLORS_OFF, MSG_WELCOME);

  /* USER CODE END 2 */

  /* Infinite loop */
  /* USER CODE BEGIN WHILE */
  while (1)
  {
	  USB_Rx_Parser();

	  /*
	  sprintf(USB_TxBuf, "%u\r\n", counter);
	  counter++;
	  CDC_Transmit_FS((uint8_t *)USB_TxBuf, strlen(USB_TxBuf));
	  HAL_Delay(5000);
	  */
    /* USER CODE END WHILE */

  }
}

void SystemClock_Config(void)
{
  RCC_OscInitTypeDef RCC_OscInitStruct = {0};
  RCC_ClkInitTypeDef RCC_ClkInitStruct = {0};

  /** Configure the main internal regulator output voltage
  */
  if (HAL_PWREx_ControlVoltageScaling(PWR_REGULATOR_VOLTAGE_SCALE1) != HAL_OK)
  {
    Error_Handler();
  }

  /** Initializes the RCC Oscillators according to the specified parameters
  * in the RCC_OscInitTypeDef structure.
  */
  RCC_OscInitStruct.OscillatorType = RCC_OSCILLATORTYPE_HSI|RCC_OSCILLATORTYPE_MSI;
  RCC_OscInitStruct.HSIState = RCC_HSI_ON;
  RCC_OscInitStruct.HSICalibrationValue = RCC_HSICALIBRATION_DEFAULT;
  RCC_OscInitStruct.MSIState = RCC_MSI_ON;
  RCC_OscInitStruct.MSICalibrationValue = 0;
  RCC_OscInitStruct.MSIClockRange = RCC_MSIRANGE_11;
  RCC_OscInitStruct.PLL.PLLState = RCC_PLL_ON;
  RCC_OscInitStruct.PLL.PLLSource = RCC_PLLSOURCE_HSI;
  RCC_OscInitStruct.PLL.PLLM = 1;
  RCC_OscInitStruct.PLL.PLLN = 10;
  RCC_OscInitStruct.PLL.PLLQ = RCC_PLLQ_DIV2;
  RCC_OscInitStruct.PLL.PLLR = RCC_PLLR_DIV2;
  if (HAL_RCC_OscConfig(&RCC_OscInitStruct) != HAL_OK)
  {
    Error_Handler();
  }

  /** Initializes the CPU, AHB and APB buses clocks
  */
  RCC_ClkInitStruct.ClockType = RCC_CLOCKTYPE_HCLK|RCC_CLOCKTYPE_SYSCLK
                              |RCC_CLOCKTYPE_PCLK1|RCC_CLOCKTYPE_PCLK2;
  RCC_ClkInitStruct.SYSCLKSource = RCC_SYSCLKSOURCE_PLLCLK;
  RCC_ClkInitStruct.AHBCLKDivider = RCC_SYSCLK_DIV1;
  RCC_ClkInitStruct.APB1CLKDivider = RCC_HCLK_DIV1;
  RCC_ClkInitStruct.APB2CLKDivider = RCC_HCLK_DIV1;

  if (HAL_RCC_ClockConfig(&RCC_ClkInitStruct, FLASH_LATENCY_4) != HAL_OK)
  {
    Error_Handler();
  }
}

static void MX_ADC1_Init(void)
{

  ADC_MultiModeTypeDef multimode = {0};
  ADC_ChannelConfTypeDef sConfig = {0};

  /** Common config
  */
  hadc1.Instance = ADC1;
  hadc1.Init.ClockPrescaler = ADC_CLOCK_ASYNC_DIV1;
  hadc1.Init.Resolution = ADC_RESOLUTION_12B;
  hadc1.Init.DataAlign = ADC_DATAALIGN_RIGHT;
  hadc1.Init.ScanConvMode = ADC_SCAN_ENABLE;
  hadc1.Init.EOCSelection = ADC_EOC_SINGLE_CONV;
  hadc1.Init.LowPowerAutoWait = DISABLE;
  hadc1.Init.ContinuousConvMode = ENABLE;
  hadc1.Init.NbrOfConversion = 2;
  hadc1.Init.DiscontinuousConvMode = DISABLE;
  hadc1.Init.ExternalTrigConv = ADC_SOFTWARE_START;
  hadc1.Init.ExternalTrigConvEdge = ADC_EXTERNALTRIGCONVEDGE_NONE;
  hadc1.Init.DMAContinuousRequests = DISABLE;
  hadc1.Init.Overrun = ADC_OVR_DATA_PRESERVED;
  hadc1.Init.OversamplingMode = DISABLE;
  if (HAL_ADC_Init(&hadc1) != HAL_OK)
  {
    Error_Handler();
  }

  /** Configure the ADC multi-mode
  */
  multimode.Mode = ADC_MODE_INDEPENDENT;
  if (HAL_ADCEx_MultiModeConfigChannel(&hadc1, &multimode) != HAL_OK)
  {
    Error_Handler();
  }

  /** Configure Regular Channel
  */
  sConfig.Channel = ADC_CHANNEL_11;
  sConfig.Rank = ADC_REGULAR_RANK_1;
  sConfig.SamplingTime = ADC_SAMPLETIME_12CYCLES_5;
  sConfig.SingleDiff = ADC_SINGLE_ENDED;
  sConfig.OffsetNumber = ADC_OFFSET_NONE;
  sConfig.Offset = 0;
  if (HAL_ADC_ConfigChannel(&hadc1, &sConfig) != HAL_OK)
  {
    Error_Handler();
  }

  /** Configure Regular Channel
  */
  sConfig.Channel = ADC_CHANNEL_12;
  sConfig.Rank = ADC_REGULAR_RANK_2;
  if (HAL_ADC_ConfigChannel(&hadc1, &sConfig) != HAL_OK)
  {
    Error_Handler();
  }

}

static void MX_LPUART1_UART_Init(void)
{

  hlpuart1.Instance = LPUART1;
  hlpuart1.Init.BaudRate = 209700;
  hlpuart1.Init.WordLength = UART_WORDLENGTH_7B;
  hlpuart1.Init.StopBits = UART_STOPBITS_1;
  hlpuart1.Init.Parity = UART_PARITY_NONE;
  hlpuart1.Init.Mode = UART_MODE_TX_RX;
  hlpuart1.Init.HwFlowCtl = UART_HWCONTROL_NONE;
  hlpuart1.Init.OneBitSampling = UART_ONE_BIT_SAMPLE_DISABLE;
  hlpuart1.AdvancedInit.AdvFeatureInit = UART_ADVFEATURE_NO_INIT;
  if (HAL_RS485Ex_Init(&hlpuart1, UART_DE_POLARITY_HIGH, 0, 0) != HAL_OK)
  {
    Error_Handler();
  }

}

static void MX_SPI1_Init(void)
{

  /* SPI1 parameter configuration*/
  hspi1.Instance = SPI1;
  hspi1.Init.Mode = SPI_MODE_MASTER;
  hspi1.Init.Direction = SPI_DIRECTION_2LINES;
  hspi1.Init.DataSize = SPI_DATASIZE_8BIT;
  hspi1.Init.CLKPolarity = SPI_POLARITY_LOW;
  hspi1.Init.CLKPhase = SPI_PHASE_1EDGE;
  hspi1.Init.NSS = SPI_NSS_SOFT;
  hspi1.Init.BaudRatePrescaler = SPI_BAUDRATEPRESCALER_8;
  hspi1.Init.FirstBit = SPI_FIRSTBIT_MSB;
  hspi1.Init.TIMode = SPI_TIMODE_DISABLE;
  hspi1.Init.CRCCalculation = SPI_CRCCALCULATION_DISABLE;
  hspi1.Init.CRCPolynomial = 7;
  hspi1.Init.CRCLength = SPI_CRC_LENGTH_DATASIZE;
  hspi1.Init.NSSPMode = SPI_NSS_PULSE_ENABLE;
  if (HAL_SPI_Init(&hspi1) != HAL_OK)
  {
    Error_Handler();
  }

}

static void MX_DMA_Init(void)
{

  /* DMA controller clock enable */
  __HAL_RCC_DMA1_CLK_ENABLE();

  /* DMA interrupt init */
  /* DMA1_Channel1_IRQn interrupt configuration */
  HAL_NVIC_SetPriority(DMA1_Channel1_IRQn, 0, 0);
  HAL_NVIC_EnableIRQ(DMA1_Channel1_IRQn);

}

static void MX_GPIO_Init(void)
{
  GPIO_InitTypeDef GPIO_InitStruct = {0};

  /* GPIO Ports Clock Enable */
  __HAL_RCC_GPIOC_CLK_ENABLE();
  __HAL_RCC_GPIOA_CLK_ENABLE();
  __HAL_RCC_GPIOB_CLK_ENABLE();

  /*Configure GPIO pin Output Level */
  HAL_GPIO_WritePin(GPIOC, RF_AMP_EN1_Pin|RF_AMP_EN2_Pin, GPIO_PIN_RESET);

  /*Configure GPIO pin Output Level */
  HAL_GPIO_WritePin(GPIOA, SYS_RST_Pin|TRANS_SDN_Pin|SPI1_NSS_Pin, GPIO_PIN_RESET);

  /*Configure GPIO pin Output Level */
  HAL_GPIO_WritePin(GPIOB, FWD_MEAS_AMP_EN_Pin|REV_MEAS_AMP_EN_Pin, GPIO_PIN_RESET);

  /*Configure GPIO pins : RF_AMP_EN1_Pin RF_AMP_EN2_Pin */
  GPIO_InitStruct.Pin = RF_AMP_EN1_Pin|RF_AMP_EN2_Pin;
  GPIO_InitStruct.Mode = GPIO_MODE_OUTPUT_PP;
  GPIO_InitStruct.Pull = GPIO_NOPULL;
  GPIO_InitStruct.Speed = GPIO_SPEED_FREQ_LOW;
  HAL_GPIO_Init(GPIOC, &GPIO_InitStruct);

  /*Configure GPIO pins : TRANS_GPIO1_Pin TRANS_GPIO0_Pin LDO_PG_Pin */
  GPIO_InitStruct.Pin = TRANS_GPIO1_Pin|TRANS_GPIO0_Pin|LDO_PG_Pin;
  GPIO_InitStruct.Mode = GPIO_MODE_INPUT;
  GPIO_InitStruct.Pull = GPIO_NOPULL;
  HAL_GPIO_Init(GPIOA, &GPIO_InitStruct);

  /*Configure GPIO pins : SYS_RST_Pin TRANS_SDN_Pin */
  GPIO_InitStruct.Pin = SYS_RST_Pin|TRANS_SDN_Pin;
  GPIO_InitStruct.Mode = GPIO_MODE_OUTPUT_PP;
  GPIO_InitStruct.Pull = GPIO_NOPULL;
  GPIO_InitStruct.Speed = GPIO_SPEED_FREQ_LOW;
  HAL_GPIO_Init(GPIOA, &GPIO_InitStruct);

  /*Configure GPIO pin : TRANS_NIRQ_Pin */
  GPIO_InitStruct.Pin = TRANS_NIRQ_Pin;
  GPIO_InitStruct.Mode = GPIO_MODE_IT_RISING;
  GPIO_InitStruct.Pull = GPIO_NOPULL;
  HAL_GPIO_Init(TRANS_NIRQ_GPIO_Port, &GPIO_InitStruct);

  /*Configure GPIO pin : SPI1_NSS_Pin */
  GPIO_InitStruct.Pin = SPI1_NSS_Pin;
  GPIO_InitStruct.Mode = GPIO_MODE_OUTPUT_PP;
  GPIO_InitStruct.Pull = GPIO_NOPULL;
  GPIO_InitStruct.Speed = GPIO_SPEED_FREQ_VERY_HIGH;
  HAL_GPIO_Init(SPI1_NSS_GPIO_Port, &GPIO_InitStruct);

  /*Configure GPIO pins : FWD_MEAS_AMP_EN_Pin REV_MEAS_AMP_EN_Pin */
  GPIO_InitStruct.Pin = FWD_MEAS_AMP_EN_Pin|REV_MEAS_AMP_EN_Pin;
  GPIO_InitStruct.Mode = GPIO_MODE_OUTPUT_PP;
  GPIO_InitStruct.Pull = GPIO_NOPULL;
  GPIO_InitStruct.Speed = GPIO_SPEED_FREQ_LOW;
  HAL_GPIO_Init(GPIOB, &GPIO_InitStruct);

}

void Error_Handler(void)
{
  __disable_irq();
  while (1)
  {
  }
}
